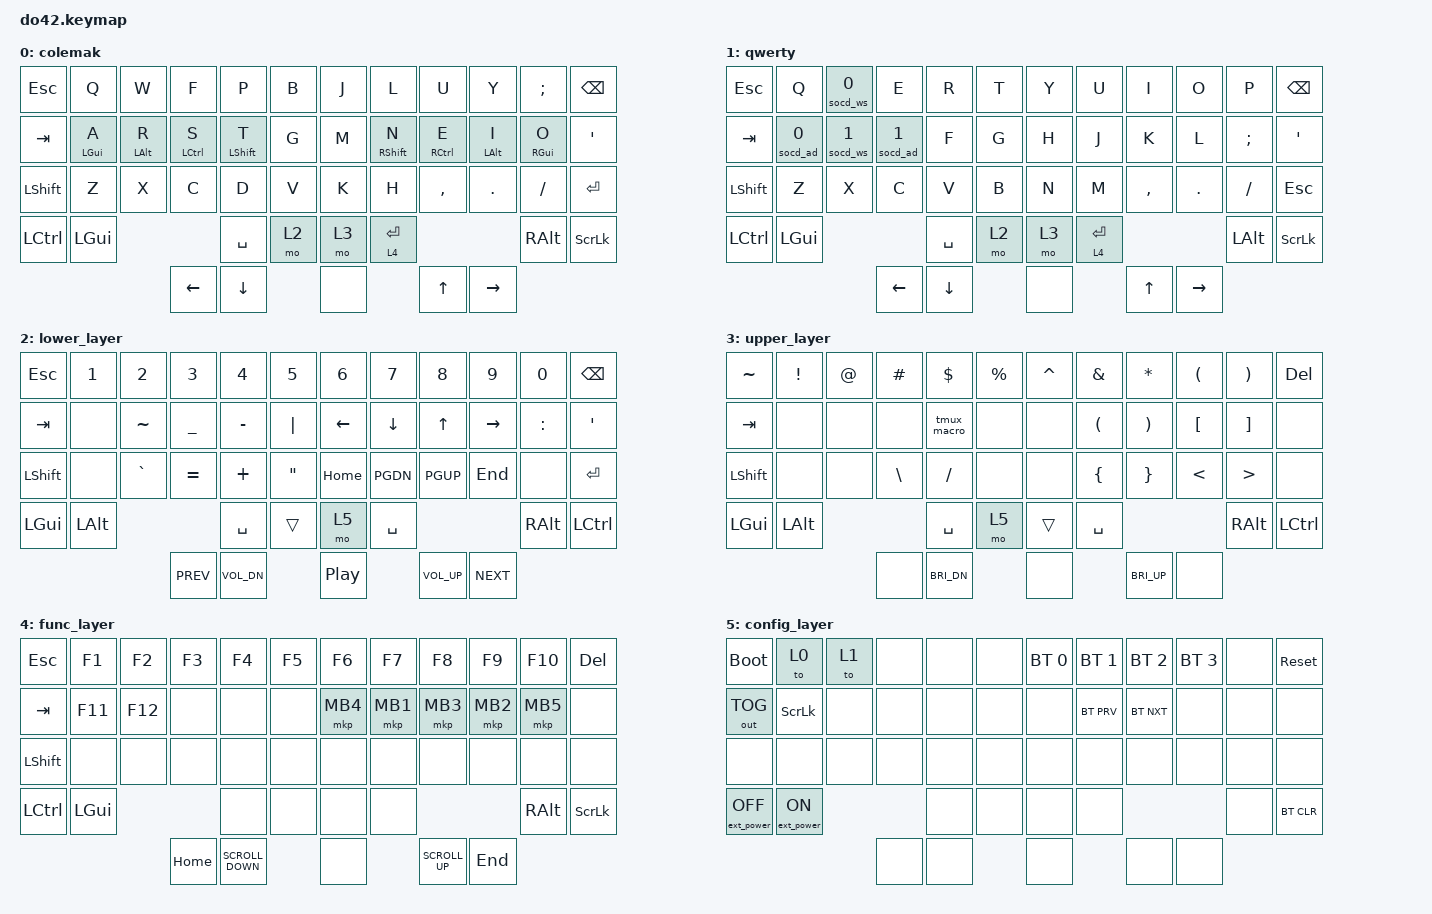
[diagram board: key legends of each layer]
#include <behaviors.dtsi>
#include <dt-bindings/zmk/keys.h>
#include <dt-bindings/zmk/mouse.h>
#include <dt-bindings/zmk/bt.h>
#include <dt-bindings/zmk/ext_power.h>
#include <dt-bindings/zmk/outputs.h>
#include <behaviors/socd_wasd.dtsi>

/*
 * Key Position Reference (49 keys)
 *
 * LEFT HALF                                   RIGHT HALF
 * ┌────┬────┬────┬────┬────┬────┐             ┌────┬────┬────┬────┬────┬────┐
 * │  0 │  1 │  2 │  3 │  4 │  5 │             │  6 │  7 │  8 │  9 │ 10 │ 11 │
 * ├────┼────┼────┼────┼────┼────┤             ├────┼────┼────┼────┼────┼────┤
 * │ 12 │ 13 │ 14 │ 15 │ 16 │ 17 │             │ 18 │ 19 │ 20 │ 21 │ 22 │ 23 │
 * ├────┼────┼────┼────┼────┼────┤             ├────┼────┼────┼────┼────┼────┤
 * │ 24 │ 25 │ 26 │ 27 │ 28 │ 29 │             │ 30 │ 31 │ 32 │ 33 │ 34 │ 35 │
 * ├────┼────┼────┴────┼────┼────┤             ├────┼────┼────┴────┼────┼────┤
 * │ 36 │ 37 │         │ 38 │ 39 │             │ 40 │ 41 │         │ 42 │ 43 │
 * └────┴────┘         └────┴────┘             └────┴────┘         └────┴────┘
 *                          ┌────┐
 *                     DPAD │ 44 │ Left
 *                     ┌────┼────┼────┐
 *                Down │ 45 │ 46 │ 47 │ Up
 *                     └────┼────┼────┘
 *                   Right  │ 48 │
 *                          └────┘
 *
 * Layers:
 *   0 = Colemak (default, with home row mods)
 *   1 = QWERTY  (gaming, no home row mods, no combos)
 *   2 = Lower   (numbers + symbols left, navigation right)
 *   3 = Upper   (shifted symbols top, tmux left, brackets right)
 *   4 = Function (F-keys, mouse buttons, media)
 *   5 = Config   (bluetooth, base layer switching, power)
 */

/* ── Behavior Overrides ─────────────────────────────────────────────── */

&lt {
    tapping-term-ms = <140>;
    require-prior-idle-ms = <150>;
};

/ {

/* ── Custom Behaviors ───────────────────────────────────────────────── */

    behaviors {
        hm: home_row_mod {
            compatible = "zmk,behavior-hold-tap";
            #binding-cells = <2>;
            flavor = "balanced";
            tapping-term-ms = <180>;
            quick-tap-ms = <150>;
            require-prior-idle-ms = <150>;
            bindings = <&kp>, <&kp>;
        };
    };

/* ── Macros (multi-character operators) ─────────────────────────────── */

    macros {
        /* ── Tmux Macros (prefix: Ctrl+B) ──────────────────────────── */
        tmux_macro: tmux_macro {
            compatible = "zmk,behavior-macro";
            #binding-cells = <0>;
            wait-ms = <10>;
            tap-ms = <10>;
            bindings = <&kp LCTRL &kp B>;
        };
    };

/* ── Combos (Colemak only, disabled on QWERTY for gaming) ───────────── */
    combos {
        compatible = "zmk,combos";

        // E + S
        combo_esc {
            timeout-ms = <40>;
            require-prior-idle-ms = <150>;
            key-positions = <15 20>;
            layers = <0>;
            bindings = <&kp ESC>;
        };
    };

/* ── Keymap ─────────────────────────────────────────────────────────── */

    keymap {
        compatible = "zmk,keymap";

        /* Layer 0: Colemak ─────────────────────────────────────────── */
        colemak {
            bindings = <
// ┌─────────┬───────────┬───────────┬────────────┬────────────┬──────┐    ┌──────┬────────────┬────────────┬───────────┬───────────┬─────────┐
    &kp ESC   &kp Q       &kp W       &kp F        &kp P        &kp B       &kp J  &kp L        &kp U        &kp Y       &kp SEMI    &kp BSPC
    &kp TAB   &hm LGUI A  &hm LALT R  &hm LCTRL S  &hm LSHFT T  &kp G       &kp M  &hm RSHFT N  &hm RCTRL E  &hm LALT I  &hm RGUI O  &kp SQT
    &kp LSHFT &kp Z       &kp X       &kp C        &kp D        &kp V       &kp K  &kp H        &kp COMMA    &kp DOT     &kp FSLH    &kp RET
    &kp LCTRL &kp LGUI                             &kp SPACE    &mo 2       &mo 3  &lt 4 RET                             &kp RALT    &kp SLCK
// └─────────┴───────────┘                        └────────────┴──────┘    └──────┴────────────┘                        └───────────┴─────────┘
                                            &kp LEFT    &kp DOWN            &none          &kp UP             &kp RIGHT
            >;
        };

        /* Layer 1: QWERTY (gaming — no home row mods, no combos) ─── */
        qwerty {
            bindings = <
// ┌─────────┬──────────┬───────────┬───────────┬─────────┬──────┐   ┌─────────┬─────────┬─────────┬─────────┬─────────┬─────────┐
    &kp ESC   &kp Q       &socd_ws 0  &kp E      &kp R     &kp T      &kp Y     &kp U     &kp I     &kp O     &kp P     &kp BSPC
    &kp TAB   &socd_ad 0  &socd_ws 1  &socd_ad 1 &kp F     &kp G      &kp H     &kp J     &kp K     &kp L     &kp SEMI  &kp SQT
    &kp LSHFT &kp Z       &kp X       &kp C      &kp V     &kp B      &kp N     &kp M     &kp COMMA &kp DOT   &kp FSLH  &kp ESC
    &kp LCTRL &kp LGUI                           &kp SPACE &mo 2      &mo 3     &lt 4 RET                     &kp LALT  &kp SLCK
// └─────────┴──────────┘                        └────────┴──────┘   └─────────┴─────────┘                   └─────────┴─────────┘
                                            &kp LEFT  &kp DOWN       &none     &kp UP    &kp RIGHT
            >;
        };

        /* Layer 2: Lower (numbers, symbols left; navigation right) ─  */
        lower_layer {
            bindings = <
// ┌─────────┬─────────┬─────────┬─────────┬─────────┬─────────┐    ┌─────────┬─────────┬─────────┬─────────┬─────────┬─────────┐
    &kp ESC   &kp N1    &kp N2    &kp N3    &kp N4    &kp N5         &kp N6    &kp N7    &kp N8    &kp N9    &kp N0    &kp BSPC
    &kp TAB   &none     &kp TILDE &kp UNDER &kp MINUS &kp PIPE       &kp LEFT  &kp DOWN  &kp UP    &kp RIGHT &kp COLON &kp SQT
    &kp LSHFT &none     &kp GRAVE &kp EQUAL &kp PLUS  &kp DQT        &kp HOME  &kp PGDN  &kp PGUP  &kp END   &none     &kp RET
    &kp LGUI  &kp LALT                      &kp SPACE &trans         &mo 5     &kp SPACE                     &kp RALT  &kp LCTRL
// └─────────┴─────────┘                    └─────────┴────────┘    └─────────┴─────────┘                   └──────────┴────────┘
                                            &kp C_PREV  &kp C_VOL_DN     &kp C_PP     &kp C_VOL_UP    &kp C_NEXT
            >;
        };

        /* Layer 3: Upper (shifted symbols top; tmux left, brackets right) */
        upper_layer {
            bindings = <
// ┌─────────┬─────────┬───────┬─────────┬─────────────┬──────────┐    ┌─────────┬─────────┬─────────┬─────────┬─────────┬─────────┐
    &kp TILDE &kp EXCL  &kp AT  &kp HASH  &kp DLLR      &kp PRCNT       &kp CARET &kp AMPS  &kp ASTRK &kp LPAR  &kp RPAR  &kp DEL
    &kp TAB   &none     &none   &none     &tmux_macro   &none           &none     &kp LPAR  &kp RPAR  &kp LBKT  &kp RBKT  &none
    &kp LSHFT &none     &none   &kp BSLH  &kp FSLH      &none           &none     &kp LBRC  &kp RBRC  &kp LT    &kp GT    &none
    &kp LGUI  &kp LALT                    &kp SPACE     &mo 5           &trans    &kp SPACE                     &kp RALT  &kp LCTRL
// └─────────┴─────────┘                 └─────────────┴──────────┘    └─────────┴─────────┘                   └─────────┴─────────┘
                                        &none     &kp C_BRI_DN   &none     &kp C_BRI_UP &none
            >;
        };

        /* Layer 4: Function (F-keys, mouse buttons, media) ─────────  */
        func_layer {
            bindings = <
// ┌─────────┬─────────┬─────────┬─────────┬─────────┬─────────┐    ┌──────────┬──────────┬──────────┬──────────┬──────────┬─────────┐
    &kp ESC   &kp F1    &kp F2    &kp F3    &kp F4    &kp F5         &kp F6     &kp F7     &kp F8     &kp F9     &kp F10    &kp DEL
    &kp TAB   &kp F11   &kp F12   &none     &none     &none          &mkp MB4   &mkp MB1   &mkp MB3   &mkp MB2   &mkp MB5   &none
    &kp LSHFT &none     &none     &none     &none     &none          &none      &none      &none      &none      &none      &none
    &kp LCTRL &kp LGUI                      &none     &none          &none      &none                            &kp RALT  &kp SLCK
// └─────────┴─────────┘                    └─────────┴─────────┘    └──────────┴──────────┘                    └──────────┴─────────┘
                                            &kp HOME  &kp K_SCROLL_DOWN &none  &kp K_SCROLL_UP &kp END
            >;
        };

        /* Layer 5: Config (bluetooth, base layer, power) ───────────  */
        config_layer {
            bindings = <
// ┌──────────────────┬─────────────────┬──────┬──────┬──────┬──────┐    ┌───────────────┬─────────────┬─────────────┬─────────────┬──────┬───────────┐
    &bootloader        &to 0             &to 1  &none  &none  &none       &bt BT_SEL 0    &bt BT_SEL 1  &bt BT_SEL 2  &bt BT_SEL 3  &none  &sys_reset
    &out OUT_TOG       &kp SLCK          &none  &none  &none  &none       &none           &bt BT_PRV    &bt BT_NXT    &none         &none  &none
    &none              &none             &none  &none  &none  &none       &none           &none         &none         &none         &none  &none
    &ext_power EP_OFF  &ext_power EP_ON                &none  &none       &none           &none                                     &none  &bt BT_CLR
// └──────────────────┴─────────────────┘             └──────┴──────┘    └───────────────┴─────────────┘                           └──────┴───────────┘
                                            &none     &none          &none      &none      &none
            >;
        };

    };
};
